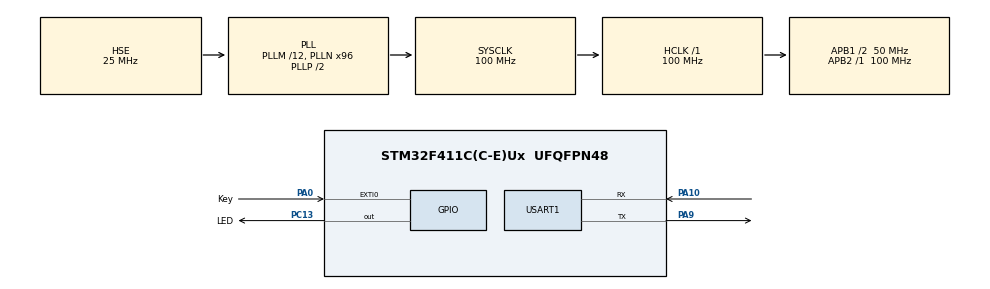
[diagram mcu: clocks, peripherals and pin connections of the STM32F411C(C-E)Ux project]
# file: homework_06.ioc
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FREERTOS.Tasks01=defaultTask,24,128,StartDefaultTask,Default,NULL,Dynamic,NULL,NULL
Mcu.Family=STM32F4
Mcu.Name=STM32F411C(C-E)Ux
Mcu.Package=UFQFPN48
NVIC.EXTI0_IRQn=true\:5\:0\:false\:false\:true\:true\:true\:true\:true
NVIC.PriorityGroup=NVIC_PRIORITYGROUP_4
NVIC.TIM1_UP_TIM10_IRQn=true\:15\:0\:false\:false\:true\:false\:false\:true\:true
NVIC.TimeBase=TIM1_UP_TIM10_IRQn
NVIC.TimeBaseIP=TIM1
PA0-WKUP.GPIO_Label=Key
PA0-WKUP.GPIO_ModeDefaultEXTI=GPIO_MODE_IT_FALLING
PA0-WKUP.GPIO_PuPd=GPIO_PULLUP
PA0-WKUP.Signal=GPXTI0
PA10.Mode=Asynchronous
PA10.Signal=USART1_RX
PA13.Mode=Serial_Wire
PA13.Signal=SYS_JTMS-SWDIO
PA14.Mode=Serial_Wire
PA14.Signal=SYS_JTCK-SWCLK
PA9.Mode=Asynchronous
PA9.Signal=USART1_TX
PC13-ANTI_TAMP.GPIO_Label=LED
PC13-ANTI_TAMP.Signal=GPIO_Output
PC14-OSC32_IN.Mode=LSE-External-Oscillator
PC14-OSC32_IN.Signal=RCC_OSC32_IN
PC15-OSC32_OUT.Mode=LSE-External-Oscillator
PC15-OSC32_OUT.Signal=RCC_OSC32_OUT
PH0\ -\ OSC_IN.Mode=HSE-External-Oscillator
PH0\ -\ OSC_IN.Signal=RCC_OSC_IN
PH1\ -\ OSC_OUT.Mode=HSE-External-Oscillator
PH1\ -\ OSC_OUT.Signal=RCC_OSC_OUT
ProjectManager.HeapSize=0x200
ProjectManager.StackSize=0x400
ProjectManager.TargetToolchain=MDK-ARM V5.32
RCC.48MHZClocksFreq_Value=50000000
RCC.AHBFreq_Value=100000000
RCC.APB1CLKDivider=RCC_HCLK_DIV2
RCC.APB1Freq_Value=50000000
RCC.APB1TimFreq_Value=100000000
RCC.APB2Freq_Value=100000000
RCC.APB2TimFreq_Value=100000000
RCC.CortexFreq_Value=100000000
RCC.HCLKFreq_Value=100000000
RCC.HSE_VALUE=25000000
RCC.HSI_VALUE=16000000
RCC.PLLM=12
RCC.PLLN=96
RCC.PLLSourceVirtual=RCC_PLLSOURCE_HSE
RCC.SYSCLKFreq_VALUE=100000000
RCC.SYSCLKSource=RCC_SYSCLKSOURCE_PLLCLK
RCC.VCOOutputFreq_Value=200000000
USART1.VirtualMode=VM_ASYNC
VP_FREERTOS_VS_CMSIS_V2.Mode=CMSIS_V2
VP_SYS_VS_tim1.Mode=TIM1
board=custom

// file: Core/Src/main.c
/* USER CODE BEGIN Header */
/**
  ******************************************************************************
  * @file           : main.c
  * @brief          : Main program body
  ******************************************************************************
  * @attention
  *
  * Copyright (c) 2024 STMicroelectronics.
  * All rights reserved.
  *
  * This software is licensed under terms that can be found in the LICENSE file
  * in the root directory of this software component.
  * If no LICENSE file comes with this software, it is provided AS-IS.
  *
  ******************************************************************************
  */
/* USER CODE END Header */
#include "main.h"
#include "cmsis_os.h"

/* USER CODE BEGIN Includes */
#include <stdio.h>
#include "bsp_led.h"
#include "bsp_key_irq.h"
/* USER CODE END Includes */

UART_HandleTypeDef huart1;

/* Definitions for defaultTask */
osThreadId_t defaultTaskHandle;
const osThreadAttr_t defaultTask_attributes = {
  .name = "defaultTask",
  .stack_size = 128 * 4,
  .priority = (osPriority_t) osPriorityNormal,
};

void SystemClock_Config(void);
static void MX_GPIO_Init(void);
static void MX_USART1_UART_Init(void);
void StartDefaultTask(void *argument);

/* USER CODE BEGIN PFP */
 #ifdef __GNUC__
     #define PUTCHAR_PROTOTYPE int _io_putchar(int ch)
 #else
     #define PUTCHAR_PROTOTYPE int fputc(int ch, FILE *f)
 #endif /* __GNUC__*/

 /******************************************************************
     *@brief  Retargets the C library printf  function to the USART.
     *@param  None
     *@retval None
 ******************************************************************/
 PUTCHAR_PROTOTYPE
 {

     HAL_UART_Transmit(&huart1, (uint8_t *)&ch,1,0xFFFF);

     return ch;
 }

/**
  * @brief  key thread function
  * @param  void * argument
  * @retval void
*/

/* USER CODE END PFP */

int main(void)
{

  /* MCU Configuration--------------------------------------------------------*/

  /* Reset of all peripherals, Initializes the Flash interface and the Systick. */
  HAL_Init();

  /* Configure the system clock */
  SystemClock_Config();

  /* Initialize all configured peripherals */
  MX_GPIO_Init();
  MX_USART1_UART_Init();

  /* Init scheduler */
  osKernelInitialize();

  /* Create the thread(s) */
  /* creation of defaultTask */
  defaultTaskHandle = osThreadNew(StartDefaultTask, NULL, &defaultTask_attributes);

  /* USER CODE BEGIN RTOS_THREADS */
  /* add threads, ... */
  key_TaskHandle = osThreadNew(key_task_func, NULL, &key_Task_attributes);
  led_TaskHandle = osThreadNew(led_task_func, NULL, &led_Task_attributes);
  /* USER CODE END RTOS_THREADS */

  /* Start scheduler */
  osKernelStart();

  /* We should never get here as control is now taken by the scheduler */

  /* Infinite loop */
  while (1)
  {

  }
}

void SystemClock_Config(void)
{
  RCC_OscInitTypeDef RCC_OscInitStruct = {0};
  RCC_ClkInitTypeDef RCC_ClkInitStruct = {0};

  /** Configure the main internal regulator output voltage
  */
  __HAL_RCC_PWR_CLK_ENABLE();
  __HAL_PWR_VOLTAGESCALING_CONFIG(PWR_REGULATOR_VOLTAGE_SCALE1);

  /** Initializes the RCC Oscillators according to the specified parameters
  * in the RCC_OscInitTypeDef structure.
  */
  RCC_OscInitStruct.OscillatorType = RCC_OSCILLATORTYPE_HSE;
  RCC_OscInitStruct.HSEState = RCC_HSE_ON;
  RCC_OscInitStruct.PLL.PLLState = RCC_PLL_ON;
  RCC_OscInitStruct.PLL.PLLSource = RCC_PLLSOURCE_HSE;
  RCC_OscInitStruct.PLL.PLLM = 12;
  RCC_OscInitStruct.PLL.PLLN = 96;
  RCC_OscInitStruct.PLL.PLLP = RCC_PLLP_DIV2;
  RCC_OscInitStruct.PLL.PLLQ = 4;
  if (HAL_RCC_OscConfig(&RCC_OscInitStruct) != HAL_OK)
  {
    Error_Handler();
  }

  /** Initializes the CPU, AHB and APB buses clocks
  */
  RCC_ClkInitStruct.ClockType = RCC_CLOCKTYPE_HCLK|RCC_CLOCKTYPE_SYSCLK
                              |RCC_CLOCKTYPE_PCLK1|RCC_CLOCKTYPE_PCLK2;
  RCC_ClkInitStruct.SYSCLKSource = RCC_SYSCLKSOURCE_PLLCLK;
  RCC_ClkInitStruct.AHBCLKDivider = RCC_SYSCLK_DIV1;
  RCC_ClkInitStruct.APB1CLKDivider = RCC_HCLK_DIV2;
  RCC_ClkInitStruct.APB2CLKDivider = RCC_HCLK_DIV1;

  if (HAL_RCC_ClockConfig(&RCC_ClkInitStruct, FLASH_LATENCY_3) != HAL_OK)
  {
    Error_Handler();
  }
}

static void MX_USART1_UART_Init(void)
{

  huart1.Instance = USART1;
  huart1.Init.BaudRate = 115200;
  huart1.Init.WordLength = UART_WORDLENGTH_8B;
  huart1.Init.StopBits = UART_STOPBITS_1;
  huart1.Init.Parity = UART_PARITY_NONE;
  huart1.Init.Mode = UART_MODE_TX_RX;
  huart1.Init.HwFlowCtl = UART_HWCONTROL_NONE;
  huart1.Init.OverSampling = UART_OVERSAMPLING_16;
  if (HAL_UART_Init(&huart1) != HAL_OK)
  {
    Error_Handler();
  }

}

static void MX_GPIO_Init(void)
{
  GPIO_InitTypeDef GPIO_InitStruct = {0};

  /* GPIO Ports Clock Enable */
  __HAL_RCC_GPIOC_CLK_ENABLE();
  __HAL_RCC_GPIOH_CLK_ENABLE();
  __HAL_RCC_GPIOA_CLK_ENABLE();

  /*Configure GPIO pin Output Level */
  HAL_GPIO_WritePin(LED_GPIO_Port, LED_Pin, GPIO_PIN_RESET);

  /*Configure GPIO pin : LED_Pin */
  GPIO_InitStruct.Pin = LED_Pin;
  GPIO_InitStruct.Mode = GPIO_MODE_OUTPUT_PP;
  GPIO_InitStruct.Pull = GPIO_NOPULL;
  GPIO_InitStruct.Speed = GPIO_SPEED_FREQ_LOW;
  HAL_GPIO_Init(LED_GPIO_Port, &GPIO_InitStruct);

  /*Configure GPIO pin : Key_Pin */
  GPIO_InitStruct.Pin = Key_Pin;
  GPIO_InitStruct.Mode = GPIO_MODE_IT_FALLING;
  GPIO_InitStruct.Pull = GPIO_PULLUP;
  HAL_GPIO_Init(Key_GPIO_Port, &GPIO_InitStruct);

  /* EXTI interrupt init*/
  HAL_NVIC_SetPriority(EXTI0_IRQn, 5, 0);
  HAL_NVIC_EnableIRQ(EXTI0_IRQn);

}

void StartDefaultTask(void *argument)
{
  /* USER CODE BEGIN 5 */
    /*********************APP Task**********************************************/
    /**     Variables (in stack)            */

    led_operation_t    led_ops_event =   LED_INITED_VALUE;
    /**     Variables (in stack)            */
  /* Infinite loop */
	osDelay(500);
//	key_press_event_t key_press_event1=
//	{
//		 .edge_type     =FAILING,
//		 .trigger_tick  =HAL_GetTick()
//	};
//			if(pdTRUE == xQueueSendToFront(inter_key_queue,&key_press_event1,0))
//			{
//				printf("key_result send short press successfully at [%d] tick\r\n",
//																										HAL_GetTick());
//		  }
//		else
//			{
//				printf("key_result send failed at [%d] tick\r\n",
//																							HAL_GetTick());
//			}
//			osDelay(600);
//	key_press_event_t key_press_event2=
//	{
//		 .edge_type     =RASING,
//		 .trigger_tick  =HAL_GetTick()
//	};
//			if(pdTRUE == xQueueSendToFront(inter_key_queue,&key_press_event2,0))
//			{
//				printf("key_result send short press successfully at [%d] tick\r\n",
//																										HAL_GetTick());
//		  }
//		else
//			{
//				printf("key_result send failed at [%d] tick\r\n",
//																							HAL_GetTick());
//			}
  for(;;)

  {
    printf("APP task is living\r\n");
		//1.if the key is pressed with short time

		//1.1 toggle the LED

		//2.if the key is pressed with long time

		//2.1 the led will blink with 3 times
    osDelay(100);
  }
    /*********************APP Task**********************************************/
  /* USER CODE END 5 */
}

void HAL_TIM_PeriodElapsedCallback(TIM_HandleTypeDef *htim)
{
  if (htim->Instance == TIM1) {
    HAL_IncTick();
  }
}

void Error_Handler(void)
{
  __disable_irq();
  while (1)
  {
  }
}
